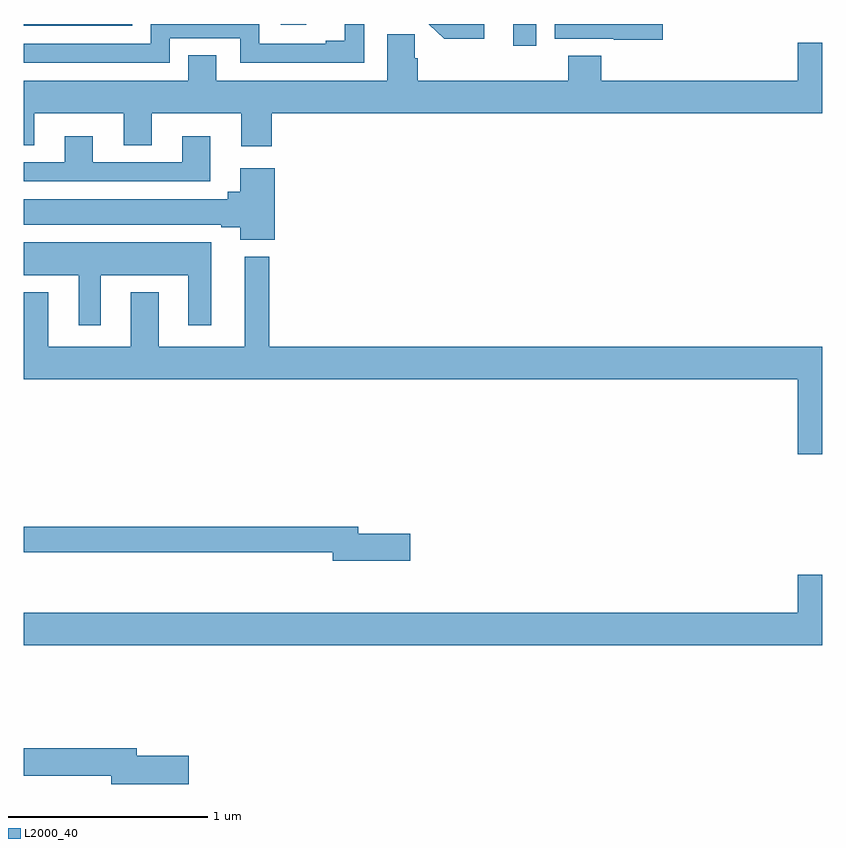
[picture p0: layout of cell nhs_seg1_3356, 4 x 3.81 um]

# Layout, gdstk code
import gdstk
lib = gdstk.Library(unit=1e-6, precision=1e-09)
def R(c, l, rs):  # rectangles x0, y0, x1, y1
    for r in rs: c.add(gdstk.rectangle(r[:2], r[2:], *l))
def P(c, l, *ps):  # polygons
    for p in ps: c.add(gdstk.Polygon(p, *l))
L2000_40 = (2000, 40)

nhs_seg1_3356 = lib.new_cell('nhs_seg1_3356')
R(nhs_seg1_3356, L2000_40, [(295.451,532.089,295.566,532.199), (293,532.19,293.544,532.199), (294.287,532.194,294.415,532.199)])
P(nhs_seg1_3356, L2000_40, [(293.733,532.128),(294.084,532.128),(294.084,532.005),(294.705,532.005),(294.705,532.199),(294.608,532.199),(294.608,532.114),(294.512,532.114),(294.512,532.101),(294.18,532.101),(294.18,532.199),(293.637,532.199),(293.637,532.101),(293,532.101),(293,532.005),(293.733,532.005)],
  [(295.306,532.199),(295.03,532.199),(295.106,532.124),(295.306,532.124)],
  [(296.2,532.199),(295.659,532.199),(295.659,532.125),(295.955,532.125),(295.955,532.121),(296.2,532.121)],
  [(294.242,531.752),(297,531.752),(297,532.105),(296.876,532.105),(296.876,531.916),(295.892,531.916),(295.892,532.04),(295.727,532.04),(295.727,531.916),(294.974,531.916),(294.974,532.028),(294.959,532.028),(294.959,532.148),(294.821,532.148),(294.821,531.916),(293.965,531.916),(293.965,532.043),(293.825,532.043),(293.825,531.916),(293,531.916),(293,531.592),(293.053,531.592),(293.053,531.752),(293.501,531.752),(293.501,531.592),(293.641,531.592),(293.641,531.752),(294.089,531.752),(294.089,531.588),(294.242,531.588)],
  [(293.935,531.637),(293.795,531.637),(293.795,531.507),(293.347,531.507),(293.347,531.637),(293.207,531.637),(293.207,531.507),(293,531.507),(293,531.411),(293.935,531.411)],
  [(294.257,531.478),(294.086,531.478),(294.086,531.358),(294.023,531.358),(294.023,531.322),(293,531.322),(293,531.194),(293.99,531.194),(293.99,531.182),(294.086,531.182),(294.086,531.118),(294.257,531.118)],
  [(293.386,530.942),(293.825,530.942),(293.825,530.691),(293.941,530.691),(293.941,531.106),(293,531.106),(293,530.942),(293.276,530.942),(293.276,530.691),(293.386,530.691)],
  [(297,530.584),(294.229,530.584),(294.229,531.033),(294.107,531.033),(294.107,530.584),(293.677,530.584),(293.677,530.857),(293.537,530.857),(293.537,530.584),(293.125,530.584),(293.125,530.857),(293,530.857),(293,530.42),(296.876,530.42),(296.876,530.046),(297,530.046)],
  [(294.937,529.646),(294.676,529.646),(294.676,529.682),(293,529.682),(293,529.554),(294.548,529.554),(294.548,529.511),(294.937,529.511)],
  [(297,529.441),(296.876,529.441),(296.876,529.252),(293,529.252),(293,529.088),(297,529.088)],
  [(293.827,528.536),(293.566,528.536),(293.566,528.572),(293,528.572),(293,528.436),(293.438,528.436),(293.438,528.394),(293.827,528.394)])

lib.write_gds('nhs_seg1_3356.gds')
